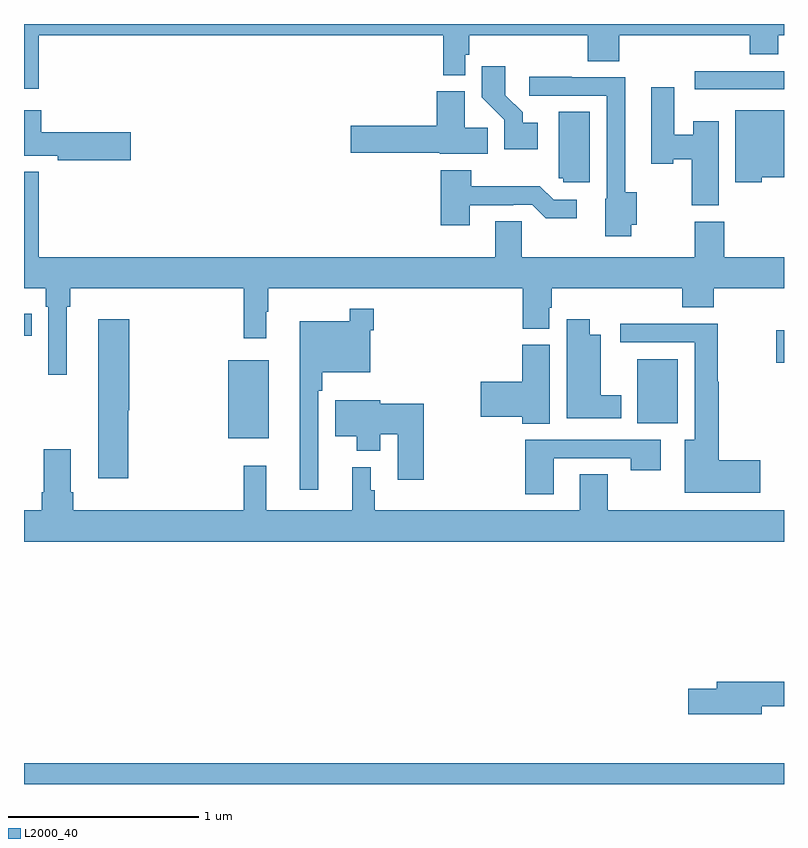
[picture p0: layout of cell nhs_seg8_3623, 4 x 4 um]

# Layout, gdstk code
import gdstk
lib = gdstk.Library(unit=1e-6, precision=1e-09)
def R(c, l, rs):  # rectangles x0, y0, x1, y1
    for r in rs: c.add(gdstk.rectangle(r[:2], r[2:], *l))
def P(c, l, *ps):  # polygons
    for p in ps: c.add(gdstk.Polygon(p, *l))
L2000_40 = (2000, 40)

nhs_seg8_3623 = lib.new_cell('nhs_seg8_3623')
R(nhs_seg8_3623, L2000_40, [(335,1105.9,339,1106.008), (336.074,1107.719,336.289,1108.129), (338.228,1107.8,338.44,1108.135), (338.958,1108.118,339,1108.288), (335,1108.258,335.042,1108.374), (338.529,1109.556,339,1109.652)])
P(nhs_seg8_3623, L2000_40, [(335.077,1109.84),(337.207,1109.84),(337.207,1109.63),(337.323,1109.63),(337.323,1109.739),(337.343,1109.739),(337.343,1109.84),(337.967,1109.84),(337.967,1109.704),(338.132,1109.704),(338.132,1109.84),(338.819,1109.84),(338.819,1109.741),(338.971,1109.741),(338.971,1109.84),(339,1109.84),(339,1109.9),(335,1109.9),(335,1109.559),(335.077,1109.559)],
  [(337.705,1109.38),(337.624,1109.38),(337.624,1109.435),(337.534,1109.525),(337.534,1109.677),(337.408,1109.677),(337.408,1109.514),(337.527,1109.395),(337.527,1109.24),(337.705,1109.24)],
  [(338.196,1108.844),(338.226,1108.844),(338.226,1109.015),(338.164,1109.015),(338.164,1109.619),(337.883,1109.619),(337.883,1109.622),(337.659,1109.622),(337.659,1109.523),(338.067,1109.523),(338.067,1108.98),(338.06,1108.98),(338.06,1108.784),(338.196,1108.784)],
  [(338.656,1109.389),(338.522,1109.389),(338.522,1109.317),(338.422,1109.317),(338.422,1109.566),(338.3,1109.566),(338.3,1109.165),(338.418,1109.165),(338.418,1109.188),(338.515,1109.188),(338.515,1108.945),(338.656,1108.945)],
  [(337.442,1109.354),(337.321,1109.354),(337.321,1109.545),(337.172,1109.545),(337.172,1109.364),(336.72,1109.364),(336.72,1109.222),(337.188,1109.222),(337.188,1109.216),(337.442,1109.216)],
  [(338.883,1109.093),(339,1109.093),(339,1109.446),(338.744,1109.446),(338.744,1109.066),(338.883,1109.066)],
  [(335.563,1109.33),(335.092,1109.33),(335.092,1109.446),(335,1109.446),(335,1109.207),(335.178,1109.207),(335.178,1109.183),(335.563,1109.183)],
  [(337.978,1109.437),(337.814,1109.437),(337.814,1109.088),(337.839,1109.088),(337.839,1109.067),(337.978,1109.067)],
  [(337.345,1108.947),(337.574,1108.947),(337.574,1108.95),(337.674,1108.95),(337.747,1108.877),(337.909,1108.877),(337.909,1108.974),(337.788,1108.974),(337.715,1109.047),(337.353,1109.047),(337.353,1109.131),(337.193,1109.131),(337.193,1108.842),(337.345,1108.842)],
  [(335.224,1108.412),(335.243,1108.412),(335.243,1108.508),(336.157,1108.508),(336.157,1108.245),(336.274,1108.245),(336.274,1108.385),(336.286,1108.385),(336.286,1108.508),(337.625,1108.508),(337.625,1108.297),(337.765,1108.297),(337.765,1108.407),(337.778,1108.407),(337.778,1108.508),(338.465,1108.508),(338.465,1108.409),(338.63,1108.409),(338.63,1108.508),(339,1108.508),(339,1108.672),(338.685,1108.672),(338.685,1108.86),(338.53,1108.86),(338.53,1108.672),(337.62,1108.672),(337.62,1108.862),(337.481,1108.862),(337.481,1108.672),(335.077,1108.672),(335.077,1109.122),(335,1109.122),(335,1108.508),(335.114,1108.508),(335.114,1108.412),(335.127,1108.412),(335.127,1108.053),(335.224,1108.053)],
  [(336.549,1107.971),(336.569,1107.971),(336.569,1108.067),(336.822,1108.067),(336.822,1108.289),(336.842,1108.289),(336.842,1108.402),(336.714,1108.402),(336.714,1108.336),(336.452,1108.336),(336.452,1107.45),(336.549,1107.45)],
  [(335.549,1107.867),(335.554,1107.867),(335.554,1108.345),(335.39,1108.345),(335.39,1107.51),(335.549,1107.51)],
  [(338.143,1107.946),(338.035,1107.946),(338.035,1108.264),(337.978,1108.264),(337.978,1108.345),(337.856,1108.345),(337.856,1107.824),(338.143,1107.824)],
  [(338.875,1107.605),(338.657,1107.605),(338.657,1108.017),(338.652,1108.017),(338.652,1108.322),(338.139,1108.322),(338.139,1108.224),(338.531,1108.224),(338.531,1107.712),(338.477,1107.712),(338.477,1107.434),(338.875,1107.434)],
  [(337.768,1108.212),(337.622,1108.212),(337.622,1108.016),(337.404,1108.016),(337.404,1107.833),(337.622,1107.833),(337.622,1107.796),(337.768,1107.796)],
  [(337.103,1107.902),(336.874,1107.902),(336.874,1107.919),(336.638,1107.919),(336.638,1107.731),(336.752,1107.731),(336.752,1107.653),(336.874,1107.653),(336.874,1107.742),(336.968,1107.742),(336.968,1107.501),(337.103,1107.501)],
  [(337.789,1107.615),(338.194,1107.615),(338.194,1107.552),(338.35,1107.552),(338.35,1107.711),(337.637,1107.711),(337.637,1107.426),(337.789,1107.426)],
  [(339,1107.34),(338.073,1107.34),(338.073,1107.53),(337.925,1107.53),(337.925,1107.34),(336.845,1107.34),(336.845,1107.447),(336.826,1107.447),(336.826,1107.568),(336.728,1107.568),(336.728,1107.34),(336.275,1107.34),(336.275,1107.574),(336.157,1107.574),(336.157,1107.34),(335.258,1107.34),(335.258,1107.436),(335.245,1107.436),(335.245,1107.661),(335.105,1107.661),(335.105,1107.436),(335.093,1107.436),(335.093,1107.34),(335,1107.34),(335,1107.176),(339,1107.176)],
  [(338.884,1106.31),(339,1106.31),(339,1106.438),(338.645,1106.438),(338.645,1106.402),(338.496,1106.402),(338.496,1106.267),(338.884,1106.267)])

lib.write_gds('nhs_seg8_3623.gds')
